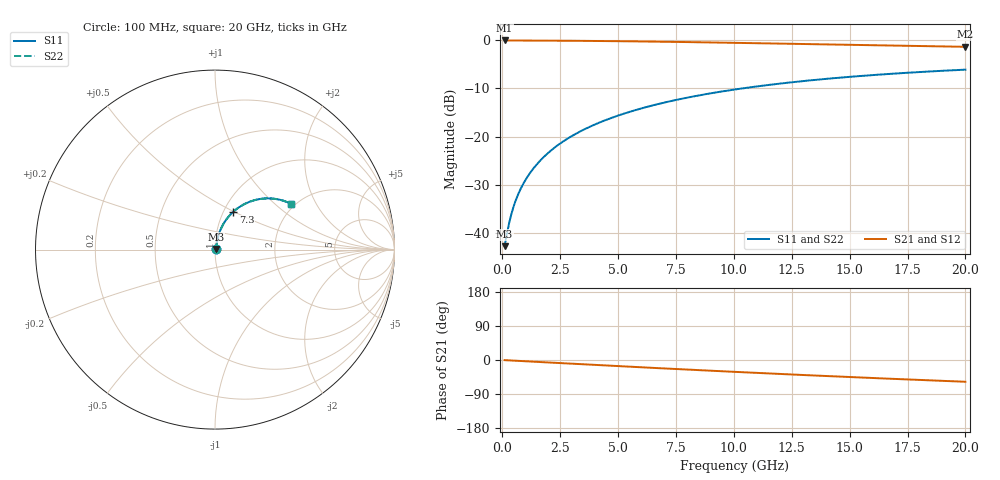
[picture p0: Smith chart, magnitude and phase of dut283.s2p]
! Touchstone file exported from HFSS 2026.1.0
!  File:  C:/ffzhzh/LocalFiles/Ansys_Project_Files/temp_train_BSMRDL_283_1782989155_41620.aedt
!  Generated:  06:47:22 PM Jul  2, 2026
!  Design:  BSMRDL
!  Project:  temp_train_BSMRDL_283_1782989155_41620
! Variables:
!  h_bsmrdl = 2.68um
!  h_ox = 20um
!  h_rdl = 5um
!  h_sub = 80um
!  h_tmrdl = 5um
!  h_tsv = 80um
!  h_via = 3um
!  l_bsmrdl = 886.76um
!  l_sub = 1286.76um
!  l_tmrdl = 200um
!  m_sub = 200um
!  pitch = 43.55um
!  r_tsv = 6um
!  s_tmrdl = 10um
!  w_bsmrdl = 18.93um
!  w_sub = 500um
!  w_tmrdl = 12um
!  x_tsv_center1 = 206um
!  x_tsv_center2 = 1111.69um
!  x_tsv_center3 = 1323.69um
!  x_tsv_center4 = 2229.38um
!  x_tsv_center5 = 2441.38um
!  x_tsv_center6 = 3347.07um
# GHz S MA R 50.000000
! Terminal data exported
! Port[1] = BSM_RDL1_1_T1
! Port[2] = BSM_RDL1_1_T2
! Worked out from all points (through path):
!   200 points, 100 MHz to 20 GHz, reference 50 ohm
!   highest |S21| = -0.06 dB at 100 MHz (marker M1); lowest = -1.4 dB at 20 GHz (marker M2)
!   group delay of S21, straight-line fit = 7.99 ps
!   lowest |S11| = -42.7 dB at 100 MHz (marker M3), VSWR 1.01, Z = 50.6 + j0.374 ohm
!   |S11| at or under -10 dB: start of sweep to 10.35 GHz
!   |S22| runs from -42.7 to -6.1 dB; largest |S21 - S12| = 3.3e-15
!   S11 on the Smith chart (normalised r, x): 100 MHz: 1.01, +0.01; 7.3 GHz: 1.11, +0.50; 20 GHz: 1.91, +1.29
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0.1  0.007341 30.2  0.9937 -0.3  0.9937 -0.3  0.007341 30.2
! Gamma 0 0 0 0
! Port Impedance 50 0 50 0
0.2  0.009844 48.1  0.9935 -0.7  0.9935 -0.7  0.009844 48.1
0.3  0.01287 57.6  0.9932 -1.0  0.9932 -1.0  0.01287 57.6
0.4  0.01606 63.1  0.993 -1.4  0.993 -1.4  0.01606 63.1
0.5  0.01929 66.6  0.9927 -1.7  0.9927 -1.7  0.01929 66.6
0.6  0.02254 69.1  0.9925 -2.0  0.9925 -2.0  0.02254 69.1
0.8  0.02904 72.2  0.992 -2.7  0.992 -2.7  0.02904 72.2
1.1  0.03885 74.7  0.9914 -3.6  0.9914 -3.6  0.03885 74.7
1.3  0.04542 75.6  0.991 -4.3  0.991 -4.3  0.04542 75.6
1.6  0.05532 76.3  0.9904 -5.2  0.9904 -5.2  0.05532 76.3
2.1  0.07184 76.5  0.9891 -6.9  0.9891 -6.9  0.07184 76.5
2.7  0.09162 75.9  0.9873 -8.8  0.9873 -8.8  0.09162 75.9
3.5  0.1177 74.3  0.9842 -11.3  0.9842 -11.3  0.1177 74.3
4.2  0.1403 72.7  0.981 -13.6  0.981 -13.6  0.1403 72.7
5  0.1655 70.6  0.9767 -16.1  0.9767 -16.1  0.1655 70.6
6.8  0.22 65.6  0.965 -21.7  0.965 -21.7  0.22 65.6
7.3  0.2345 64.2  0.9613 -23.2  0.9613 -23.2  0.2345 64.2
8.6  0.2708 60.5  0.9512 -27.1  0.9512 -27.1  0.2708 60.5
10.1  0.3099 56.3  0.9385 -31.5  0.9385 -31.5  0.3099 56.2
13.4  0.3856 47.3  0.9091 -40.7  0.9091 -40.7  0.3856 47.3
16.7  0.447 38.9  0.8801 -49.3  0.8801 -49.3  0.447 38.9
20  0.4952 31.0  0.854 -57.4  0.854 -57.4  0.4952 30.9
